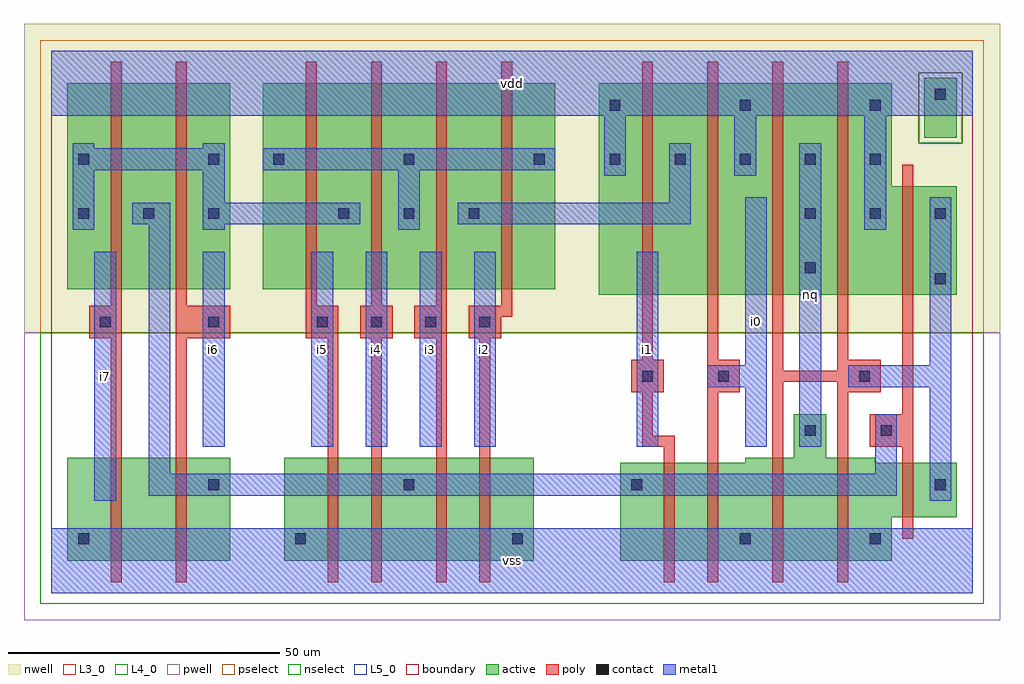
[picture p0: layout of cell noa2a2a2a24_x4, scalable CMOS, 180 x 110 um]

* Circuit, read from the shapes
.subckt noa2a2a2a24_x4 i0 i1 i2 i3 i4 i5 i6 i7 nq vdd vss
M1 n1 i7 vss VSUBS nfet w=19u l=2u
M2 n2 i6 n1 VSUBS nfet w=19u l=2u
M3 n3 i5 vss VSUBS nfet w=19u l=2u
M4 n2 i4 n3 VSUBS nfet w=19u l=2u
M5 n4 i3 n2 VSUBS nfet w=19u l=2u
M6 vss i2 n4 VSUBS nfet w=19u l=2u
M7 n5 i1 n2 VSUBS nfet w=18u l=2u
M8 vss i0 n5 VSUBS nfet w=18u l=2u
M9 nq n6 vss VSUBS nfet w=19u l=2u m=2
M10 n6 n2 vss VSUBS nfet w=10u l=2u
M11 n2 i7 n7 vdd pfet w=38u l=2u
M12 n7 i6 n2 vdd pfet w=38u l=2u
M13 n7 i5 n8 vdd pfet w=38u l=2u
M14 n8 i4 n7 vdd pfet w=38u l=2u
M15 n9 i3 n8 vdd pfet w=38u l=2u
M16 n8 i2 n9 vdd pfet w=38u l=2u
M17 n9 i1 vdd vdd pfet w=39u l=2u
M18 vdd i0 n9 vdd pfet w=39u l=2u
M19 nq n6 vdd vdd pfet w=39u l=2u m=2
M20 n6 n2 vdd vdd pfet w=20u l=2u
.ends

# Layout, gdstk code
import gdstk
lib = gdstk.Library(unit=1e-6, precision=1e-09)
def R(c, l, rs):  # rectangles x0, y0, x1, y1
    for r in rs: c.add(gdstk.rectangle(r[:2], r[2:], *l))
def A(c, l, x, y, w, h, nx, ny, dx, dy):  # array of equal rectangles
    R(c, l, [(x+i*dx, y+j*dy, x+i*dx+w, y+j*dy+h) for i in range(nx) for j in range(ny)])
L3_0 = (3, 0)
L4_0 = (4, 0)
L5_0 = (5, 0)
contact = (25, 0)
pwell = (41, 0)
nwell = (42, 0)
active = (43, 0)
pselect = (44, 0)
nselect = (45, 0)
poly = (46, 0)
metal1 = (49, 0)
boundary = (63, 0)

noa2a2a2a24_x4 = lib.new_cell('noa2a2a2a24_x4')
R(noa2a2a2a24_x4, L3_0, [(3,6,33,25), (43,6,89,25), (105,6,155,14), (105,14,167,24), (128,24,152,25), (137,25,143,33)])
R(noa2a2a2a24_x4, L4_0, [(101,55,167,75), (3,56,33,94), (39,56,93,94), (101,75,155,94)])
R(noa2a2a2a24_x4, L5_0, [(161,84,167,95)])
A(noa2a2a2a24_x4, contact, 5, 9, 2, 2, 3, 1, 40, 0)
A(noa2a2a2a24_x4, contact, 9, 49, 2, 2, 3, 1, 20, 0)
A(noa2a2a2a24_x4, contact, 59, 49, 2, 2, 3, 1, 10, 0)
A(noa2a2a2a24_x4, contact, 5, 69, 2, 2, 3, 1, 12, 0)
A(noa2a2a2a24_x4, contact, 53, 69, 2, 2, 3, 1, 12, 0)
A(noa2a2a2a24_x4, contact, 139, 69, 2, 2, 3, 1, 12, 0)
A(noa2a2a2a24_x4, contact, 41, 79, 2, 2, 3, 1, 24, 0)
A(noa2a2a2a24_x4, contact, 103, 79, 2, 2, 5, 1, 12, 0)
A(noa2a2a2a24_x4, contact, 103, 89, 2, 2, 3, 1, 24, 0)
R(noa2a2a2a24_x4, contact, [(127,9,129,11), (151,9,153,11), (29,19,31,21), (65,19,67,21), (107,19,109,21), (163,19,165,21), (139,29,141,31), (153,29,155,31), (109,39,111,41), (123,39,125,41), (149,39,151,41), (163,57,165,59), (139,59,141,61), (5,79,7,81), (29,79,31,81), (163,91,165,93)])
R(noa2a2a2a24_x4, pwell, [(-5,-5,175,48)])
R(noa2a2a2a24_x4, nwell, [(-5,48,175,105)])
R(noa2a2a2a24_x4, active, [(3,6,33,25), (43,6,89,25), (105,6,155,14), (105,14,167,24), (128,24,152,25), (137,25,143,33), (101,55,167,75), (3,56,33,94), (39,56,93,94), (101,75,155,94), (161,84,167,95)])
R(noa2a2a2a24_x4, pselect, [(-2,48,172,83), (-2,83,160,96), (168,83,172,96), (-2,96,172,102)])
R(noa2a2a2a24_x4, nselect, [(-2,-2,172,48), (160,83,168,96)])
A(noa2a2a2a24_x4, poly, 47, 47, 6, 6, 3, 1, 10, 0)
A(noa2a2a2a24_x4, poly, 47, 53, 2, 45, 4, 1, 12, 0)
R(noa2a2a2a24_x4, poly, [(11,2,13,47), (23,2,25,47), (51,2,53,47), (59,2,61,47), (71,2,73,47), (79,2,81,47), (113,2,115,27), (121,2,123,37), (133,2,135,39), (145,2,147,37), (157,10,159,27), (109,27,115,29), (151,27,159,33), (109,29,111,37), (157,33,159,79), (107,37,113,43), (121,37,127,43), (145,37,153,39), (133,39,153,41), (133,41,135,98), (145,41,153,43), (109,43,111,98), (121,43,123,98), (145,43,147,98), (7,47,13,53), (23,47,33,53), (77,47,83,51), (77,51,85,53), (11,53,13,98), (23,53,25,98)])
A(noa2a2a2a24_x4, metal1, 48, 27, 4, 36, 4, 1, 10, 0)
R(noa2a2a2a24_x4, metal1, [(0,0,170,12), (8,17,12,63), (162,17,166,38), (18,18,156,22), (18,22,22,68), (152,22,156,33), (28,27,32,63), (108,27,112,63), (128,27,132,38), (138,27,142,83), (121,38,132,42), (147,38,166,42), (128,42,132,73), (162,42,166,73), (4,67,8,78), (28,67,32,68), (64,67,68,78), (150,67,154,88), (15,68,22,72), (28,68,57,72), (75,68,118,72), (28,72,32,78), (114,72,118,83), (102,77,106,88), (126,77,130,88), (4,78,32,82), (39,78,93,82), (4,82,8,83), (28,82,32,83), (0,88,170,100)])
R(noa2a2a2a24_x4, boundary, [(0,0,170,100)])
noa2a2a2a24_x4.add(gdstk.Label('i6', (30,45), layer=49, texttype=0))
noa2a2a2a24_x4.add(gdstk.Label('i7', (10,40), layer=49, texttype=0))
noa2a2a2a24_x4.add(gdstk.Label('i2', (80,45), layer=49, texttype=0))
noa2a2a2a24_x4.add(gdstk.Label('i3', (70,45), layer=49, texttype=0))
noa2a2a2a24_x4.add(gdstk.Label('i4', (60,45), layer=49, texttype=0))
noa2a2a2a24_x4.add(gdstk.Label('i5', (50,45), layer=49, texttype=0))
noa2a2a2a24_x4.add(gdstk.Label('vss', (85,6), layer=49, texttype=0))
noa2a2a2a24_x4.add(gdstk.Label('i1', (110,45), layer=49, texttype=0))
noa2a2a2a24_x4.add(gdstk.Label('vdd', (85,94), layer=49, texttype=0))
noa2a2a2a24_x4.add(gdstk.Label('i0', (130,50), layer=49, texttype=0))
noa2a2a2a24_x4.add(gdstk.Label('nq', (140,55), layer=49, texttype=0))

lib.write_gds('noa2a2a2a24_x4.gds')
